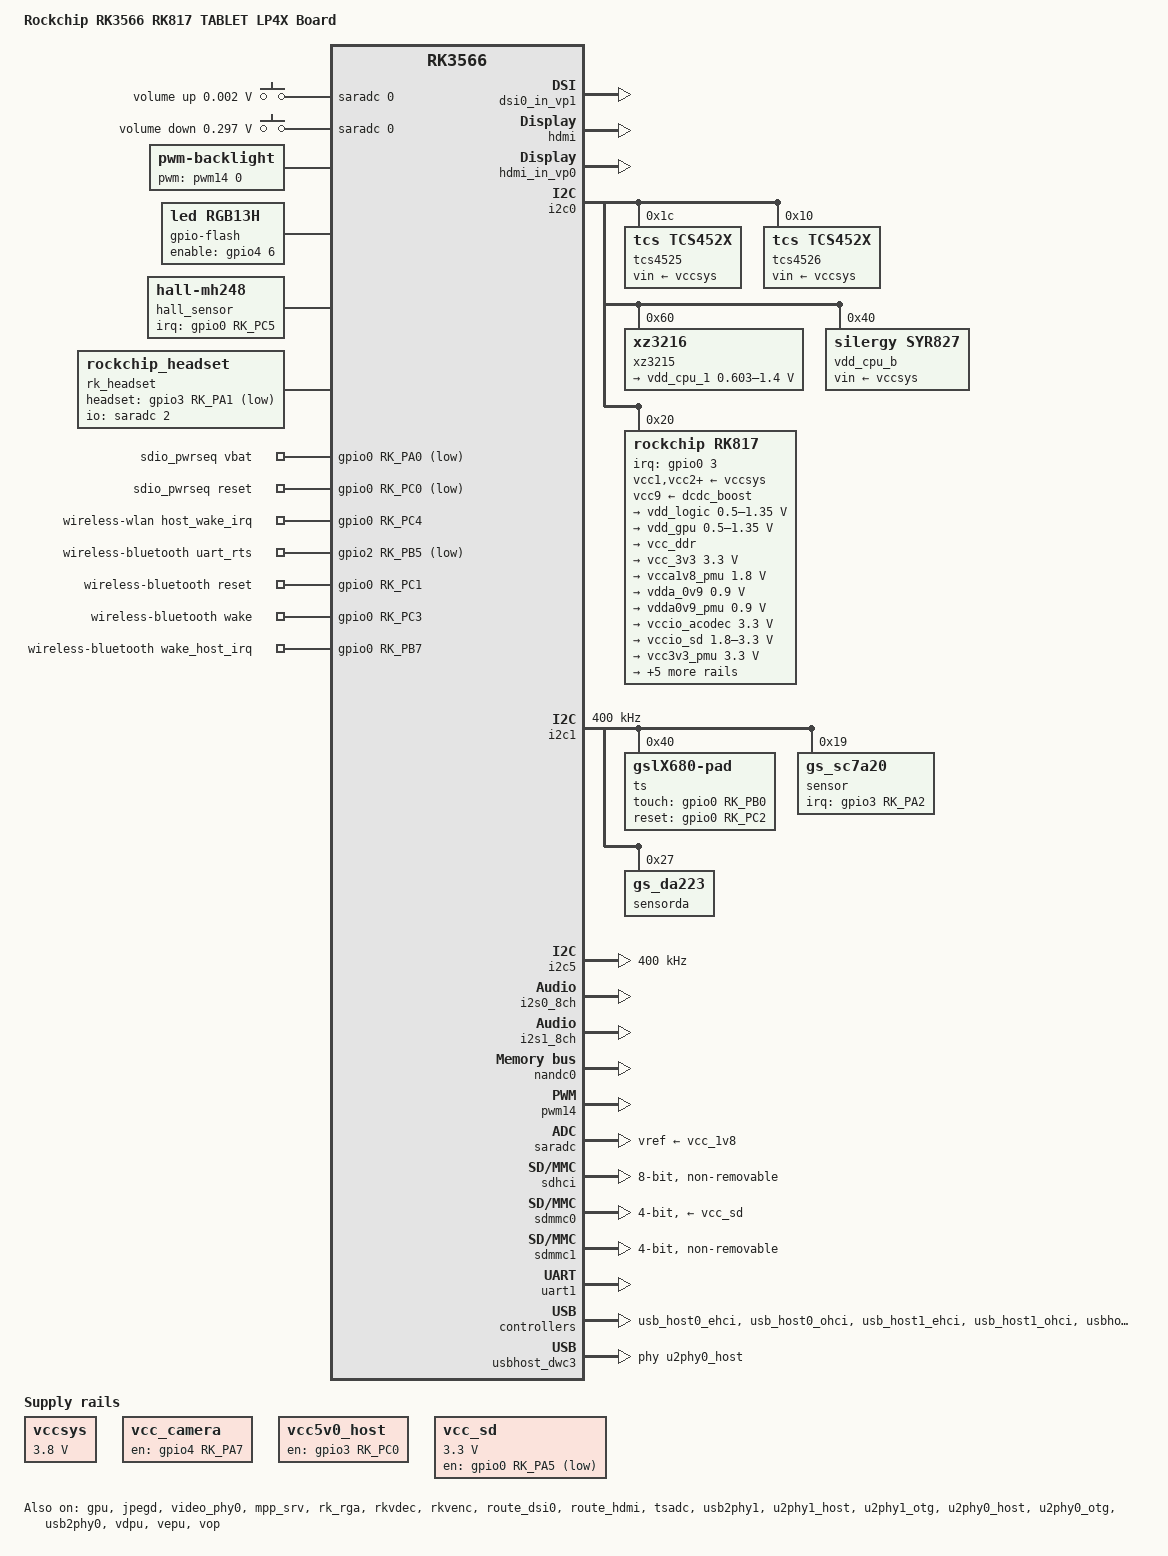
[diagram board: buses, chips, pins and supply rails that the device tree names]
// SPDX-License-Identifier: (GPL-2.0+ OR MIT)
/*
 * Copyright (c) 2020 Rockchip Electronics Co., Ltd.
 *
 */

/dts-v1/;

#include <dt-bindings/gpio/gpio.h>
#include <dt-bindings/pinctrl/rockchip.h>
#include <dt-bindings/input/rk-input.h>
#include <dt-bindings/sensor-dev.h>
#include <dt-bindings/display/drm_mipi_dsi.h>
#include "rk3566.dtsi"
#include "rk3568-android.dtsi"

//#include "lcd/lcd_mipi_r960_10inch_800x1280_ZJGD_B_I_40_003_001.dtsi"
//#include "lcd/lcd_mipi_r863_10inch_800x1280-ER88577_BOE-B6-176pin_20210204.dtsi"
//#include "lcd/lcd_mipi_ILI9881C_BOE_10_8001280_B4_TV101WXU-N90_Code_20190820.dtsi" //shuziyin
//#include "lcd/lcd_mipi_yc_8_800x1280_9365_zj_20210406.dtsi"
#include "lcd/lcd_mipi_xl_SQ-HSD9881_800x1280.dtsi"
//#include "lcd/lcd_mipi_r862_8inch_800x1280-ER88577+AUO8.0_B080EAN05.dtsi"
//#include "lcd/lcd_mipi_bendun_ILI9881C-04_HSD_HSD101HWW7_P1017_800x1280_4H_T01.dtsi" //bendun
//#include "camera_gc02m2_mipi_ov5648_mipi.dtsi"
//#include "camera_gc2145_dvp_ov8858_mipi.dtsi"
#include "camera/camera_mipi_mipi_gc02m2_sp250a_gc5025_5648_5035_hi556_hi846_gc8034-ov8858.dtsi"
/ {
	model = "Rockchip RK3566 RK817 TABLET LP4X Board";
	compatible = "rockchip,rk3566-rk817-tablet", "rockchip,rk3566";

	adc_keys: adc-keys {
		compatible = "adc-keys";
		io-channels = <&saradc 0>;
		io-channel-names = "buttons";
		keyup-threshold-microvolt = <1800000>;
		poll-interval = <100>;

		vol-up-key {
			label = "volume up";
			linux,code = <KEY_VOLUMEUP>;
			press-threshold-microvolt = <1750>;
		};

		vol-down-key {
			label = "volume down";
			linux,code = <KEY_VOLUMEDOWN>;
			press-threshold-microvolt = <297500>;
		};
	};

	backlight: backlight {
		compatible = "pwm-backlight";
		pwms = <&pwm14 0 25000 0>;
		brightness-levels = <
			  0  20  20  21  21  22  22  23
			 23  24  24  25  25  26  26  27
			 27  28  28  29  29  30  30  31
			 31  32  32  33  33  34  34  35
			 35  36  36  37  37  38  38  39
			 40  41  42  43  44  45  46  47
			 48  49  50  51  52  53  54  55
			 56  57  58  59  60  61  62  63
			 64  65  66  67  68  69  70  71
			 72  73  74  75  76  77  78  79
			 80  81  82  83  84  85  86  87
			 88  89  90  91  92  93  94  95
			 96  97  98  99 100 101 102 103
			104 105 106 107 108 109 110 111
			112 113 114 115 116 117 118 119
			120 121 122 123 124 125 126 127
			128 129 130 131 132 133 134 135
			136 137 138 139 140 141 142 143
			144 145 146 147 148 149 150 151
			152 153 154 155 156 157 158 159
			160 161 162 163 164 165 166 167
			168 169 170 171 172 173 174 175
			176 177 178 179 180 181 182 183
			184 185 186 187 188 189 190 191
			192 193 194 195 196 197 198 199
			200 201 202 203 204 205 206 207
			208 209 210 211 212 213 214 215
			216 217 218 219 220 221 222 223
			224 225 226 227 228 229 230 231
			232 233 234 235 236 237 238 239
			240 241 242 243 244 245 246 247
			248 249 250 251 252 253 254 255
		>;
		default-brightness-level = <96>;
		//enable-gpios = <&gpio3 RK_PA5 GPIO_ACTIVE_HIGH>;
	};

	charge-animation {
		compatible = "rockchip,uboot-charge";
		rockchip,uboot-charge-on = <1>;
		rockchip,android-charge-on = <0>;
		rockchip,uboot-low-power-voltage = <3350>;
		rockchip,screen-on-voltage = <3400>;
		status = "okay";
	};

	flash_rgb13h: flash-rgb13h {
		status = "okay";
		compatible = "led,rgb13h";
		label = "gpio-flash";
		pinctrl-names = "default";
		pinctrl-0 = <&flash_led_gpios>;
		led-max-microamp = <20000>;
		flash-max-microamp = <20000>;
		flash-max-timeout-us = <1000000>;
		enable-gpio = <&gpio4 6 GPIO_ACTIVE_HIGH>;
		rockchip,camera-module-index = <0>;
		rockchip,camera-module-facing = "back";
	};

	hdmi_sound: hdmi-sound {
		compatible = "simple-audio-card";
		simple-audio-card,format = "i2s";
		simple-audio-card,mclk-fs = <128>;
		simple-audio-card,name = "rockchip,hdmi";
		status = "okay";

		simple-audio-card,cpu {
				sound-dai = <&i2s0_8ch>;
		};
		simple-audio-card,codec {
				sound-dai = <&hdmi>;
		};
	};

	vccsys: vccsys {
		compatible = "regulator-fixed";
		regulator-name = "vcc3v8_sys";
		regulator-always-on;
		regulator-boot-on;
		regulator-min-microvolt = <3800000>;
		regulator-max-microvolt = <3800000>;
	};

	vcc_camera: vcc-camera-regulator {
		compatible = "regulator-fixed";
		gpio = <&gpio4 RK_PA7 GPIO_ACTIVE_HIGH>;
		pinctrl-names = "default";
		pinctrl-0 = <&camera_af_en>;
		regulator-name = "vcc_camera";
		enable-active-high;
		regulator-always-on;
		regulator-boot-on;
	};


      vcc5v0_host: vcc5v0-host-regulator {
              compatible = "regulator-fixed";
      	      gpio = <&gpio3 RK_PC0 GPIO_ACTIVE_HIGH>;
              pinctrl-names = "default";
              pinctrl-0 = <&host_vbus_drv>;
              regulator-name = "vcc5v0_host";
              enable-active-high;
              regulator-always-on;
              regulator-boot-on;
       };

       hall_sensor: hall-mh248 {
                compatible = "hall-mh248";
                irq-gpio = <&gpio0 RK_PC5 IRQ_TYPE_EDGE_BOTH>;
                hall-active = <1>;
                status = "okay";
        };
	
	rk817-sound {
		compatible = "simple-audio-card";
		simple-audio-card,format = "i2s";
		simple-audio-card,name = "rockchip,rk817-codec";
		simple-audio-card,mclk-fs = <256>;
		simple-audio-card,cpu {
			sound-dai = <&i2s1_8ch>;
		};
		simple-audio-card,codec {
			sound-dai = <&rk817_codec>;
		};
	};

	rk_headset: rk-headset {
		compatible = "rockchip_headset";
		headset_gpio = <&gpio3 RK_PA1 GPIO_ACTIVE_LOW>;
		pinctrl-names = "default";
		pinctrl-0 = <&hp_det>;
		io-channels = <&saradc 2>;
	};

	sdio_pwrseq: sdio-pwrseq {
		compatible = "mmc-pwrseq-simple";
		clocks = <&rk817 1>;
		clock-names = "ext_clock";
		pinctrl-names = "default";
		pinctrl-0 = <&wifi_enable_h &wifi_vbat>;

		/*
		 * On the module itself this is one of these (depending
		 * on the actual card populated):
		 * - SDIO_RESET_L_WL_REG_ON
		 * - PDN (power down when low)
		 */
		vbat-gpios = <&gpio0 RK_PA0 GPIO_ACTIVE_LOW>;
		reset-gpios = <&gpio0 RK_PC0 GPIO_ACTIVE_LOW>;
	};

	vcc_sd: vcc-sd {
		compatible = "regulator-gpio";
		enable-active-low;
		enable-gpio = <&gpio0 RK_PA5 GPIO_ACTIVE_LOW>;
		regulator-min-microvolt = <3300000>;
		regulator-max-microvolt = <3300000>;
		pinctrl-names = "default";
		pinctrl-0 = <&vcc_sd_h>;
		regulator-name = "vcc_sd";
		states = <3300000 0x0
			3300000 0x1>;
	};

	wireless-wlan {
                compatible = "wlan-platdata";
                rockchip,grf = <&grf>;
                wifi_chip_type = "rtl8723cs";
                pinctrl-names = "default";
                pinctrl-0 = <&wifi_host_wake_irq>;
                WIFI,host_wake_irq = <&gpio0 RK_PC4 GPIO_ACTIVE_HIGH>;
                //WIFI,vbat_gpio = <&gpio0 RK_PA0 GPIO_ACTIVE_LOW>;
                status = "okay";
        };

        wireless-bluetooth {
                compatible = "bluetooth-platdata";
                clocks = <&rk817 1>;
                clock-names = "ext_clock";
                //wifi-bt-power-toggle;
                uart_rts_gpios = <&gpio2 RK_PB5 GPIO_ACTIVE_LOW>;
                pinctrl-names = "default", "rts_gpio";
                pinctrl-0 = <&uart1m0_rtsn>;
                pinctrl-1 = <&uart1_gpios &bt_reset_gpio &bt_wake_gpio &bt_irq_gpio>;
                BT,reset_gpio    = <&gpio0 RK_PC1 GPIO_ACTIVE_HIGH>;
                BT,wake_gpio     = <&gpio0 RK_PC3 GPIO_ACTIVE_HIGH>;
                BT,wake_host_irq = <&gpio0 RK_PB7 GPIO_ACTIVE_HIGH>;
                status = "okay";
        };
};


&cpu0 {
	//cpu-supply = <&vdd_cpu>;
	reg-name = "vdd_cpu";
};

&dfi {
	status = "disabled";
};

&dmc {
	center-supply = <&vdd_logic>;
	status = "disabled";
};

&dsi0_in_vp0 {
	status = "disabled";
};

&dsi0_in_vp1 {
	status = "okay";
};

&gpu {
	mali-supply = <&vdd_gpu>;
	status = "okay";
};

&hdmi {
	status = "okay";
};

&hdmi_in_vp0 {
	status = "okay";
};

&hdmi_in_vp1 {
	status = "disabled";
};

&hdmi_sound {
        status = "okay";
};

&i2c0 {
	status = "okay";

	tcs4525: tcs4525@1c {
		compatible = "tcs,tcs452x";
		reg = <0x1c>;
		vin-supply = <&vccsys>;
		regulator-compatible = "fan53555-reg";
		regulator-name = "vdd_cpu";
		regulator-min-microvolt = <712500>;
		regulator-max-microvolt = <1390000>;
		regulator-ramp-delay = <2300>;
		fcs,suspend-voltage-selector = <1>;
		regulator-boot-on;
		regulator-always-on;
		regulator-state-mem {
			regulator-off-in-suspend;
		};
	};

	tcs4526: tcs4526@10 {
		compatible = "tcs,tcs452x";
		reg = <0x10>;
		vin-supply = <&vccsys>;
		regulator-compatible = "fan53555-reg";
		regulator-name = "vdd_cpu";
		regulator-min-microvolt = <712500>;
		regulator-max-microvolt = <1390000>;
		regulator-ramp-delay = <2300>;
		fcs,suspend-voltage-selector = <1>;
		regulator-boot-on;
		regulator-always-on;
		regulator-state-mem {
			regulator-off-in-suspend;
		};
	};

	xz3215: xz3215@60 {
		compatible = "xz3216";
		reg = <0x60>;
		regulators {
			#address-cells = <1>;
			#size-cells = <0>;
			vdd_cpu_1: regulator@0 {
				reg = <0>;
				vin-supply = <&vccsys>;
				regulator-compatible = "xz_dcdc1";
				regulator-name = "vdd_cpu";
				regulator-min-microvolt = <603000>;
				regulator-max-microvolt = <1400000>;
				regulator-ramp-delay = <1000>;
				regulator-always-on;
				regulator-boot-on;
				fcs,suspend-voltage-selector = <1>;
				//regulator-initial-mode = <0x1>;
				regulator-initial-state = <3>;
				regulator-state-mem {
					regulator-off-in-suspend;
				};
			};
		};
	};

	vdd_cpu_b: syr837@40 {
			compatible = "silergy,syr827";
			reg = <0x40>;
			vin-supply = <&vccsys>;
			regulator-compatible = "fan53555-reg";
			//pinctrl-0 = <&vsel1_gpio>;
			//vsel-gpios = <&gpio1 17 GPIO_ACTIVE_HIGH>;
			regulator-name = "vdd_cpu";
			regulator-min-microvolt = <712500>;
			regulator-max-microvolt = <1500000>;
			regulator-ramp-delay = <1000>;
			fcs,suspend-voltage-selector = <1>;
			regulator-always-on;
			regulator-initial-state = <3>;
			regulator-state-mem {
					regulator-off-in-suspend;
			};
	};

	rk817: pmic@20 {
		compatible = "rockchip,rk817";
		reg = <0x20>;
		interrupt-parent = <&gpio0>;
		interrupts = <3 IRQ_TYPE_LEVEL_LOW>;

		pinctrl-names = "default", "pmic-sleep",
				"pmic-power-off", "pmic-reset";
		pinctrl-0 = <&pmic_int>;
		pinctrl-1 = <&soc_slppin_slp>, <&rk817_slppin_slp>;
		pinctrl-2 = <&soc_slppin_gpio>, <&rk817_slppin_pwrdn>;
		pinctrl-3 = <&soc_slppin_gpio>, <&rk817_slppin_rst>;
		rockchip,system-power-controller;
		wakeup-source;
		#clock-cells = <1>;
		clock-output-names = "rk808-clkout1", "rk808-clkout2";
		//fb-inner-reg-idxs = <2>;
		/* 1: rst regs (default in codes), 0: rst the pmic */
		pmic-reset-func = <0>;
		/* not save the PMIC_POWER_EN register in uboot */
		not-save-power-en = <1>;

		vcc1-supply = <&vccsys>;
		vcc2-supply = <&vccsys>;
		vcc3-supply = <&vccsys>;
		vcc4-supply = <&vccsys>;
		vcc5-supply = <&vccsys>;
		vcc6-supply = <&vccsys>;
		vcc7-supply = <&vccsys>;
		vcc8-supply = <&vccsys>;
		vcc9-supply = <&dcdc_boost>;

		pwrkey {
			status = "okay";
		};

		pinctrl_rk8xx: pinctrl_rk8xx {
			gpio-controller;
			#gpio-cells = <2>;

			rk817_slppin_null: rk817_slppin_null {
				pins = "gpio_slp";
				function = "pin_fun0";
			};

			rk817_slppin_slp: rk817_slppin_slp {
				pins = "gpio_slp";
				function = "pin_fun1";
			};

			rk817_slppin_pwrdn: rk817_slppin_pwrdn {
				pins = "gpio_slp";
				function = "pin_fun2";
			};

			rk817_slppin_rst: rk817_slppin_rst {
				pins = "gpio_slp";
				function = "pin_fun3";
			};
		};

		regulators {
			vdd_logic: DCDC_REG1 {
				regulator-always-on;
				regulator-boot-on;
				regulator-min-microvolt = <500000>;
				regulator-max-microvolt = <1350000>;
				regulator-init-microvolt = <900000>;
				regulator-ramp-delay = <6001>;
				regulator-initial-mode = <0x2>;
				regulator-name = "vdd_logic";
				regulator-state-mem {
					regulator-off-in-suspend;
					regulator-suspend-microvolt = <900000>;
				};
			};

			vdd_gpu: DCDC_REG2 {
				regulator-always-on;
				regulator-boot-on;
				regulator-min-microvolt = <500000>;
				regulator-max-microvolt = <1350000>;
				regulator-init-microvolt = <900000>;
				regulator-ramp-delay = <6001>;
				regulator-initial-mode = <0x2>;
				regulator-name = "vdd_gpu";
					regulator-state-mem {
					regulator-off-in-suspend;
				};
			};

			vcc_ddr: DCDC_REG3 {
				regulator-always-on;
				regulator-boot-on;
				regulator-initial-mode = <0x2>;
				regulator-name = "vcc_ddr";
				regulator-state-mem {
					regulator-on-in-suspend;
				};
			};

			vcc_3v3: DCDC_REG4 {
				regulator-always-on;
				regulator-boot-on;
				regulator-min-microvolt = <3300000>;
				regulator-max-microvolt = <3300000>;
				regulator-initial-mode = <0x2>;
				regulator-name = "vcc_3v3";
				regulator-state-mem {
					regulator-on-in-suspend;
					regulator-suspend-microvolt = <3300000>;
				};
			};

			vcca1v8_pmu: LDO_REG1 {
				regulator-always-on;
				regulator-boot-on;
				regulator-min-microvolt = <1800000>;
				regulator-max-microvolt = <1800000>;
				regulator-name = "vcca1v8_pmu";
				regulator-state-mem {
					regulator-on-in-suspend;
					regulator-suspend-microvolt = <1800000>;
				};
			};

			vdda_0v9: LDO_REG2 {
				regulator-always-on;
				regulator-boot-on;
				regulator-min-microvolt = <900000>;
				regulator-max-microvolt = <900000>;
				regulator-name = "vdda_0v9";
				regulator-state-mem {
					regulator-off-in-suspend;
				};
			};

			vdda0v9_pmu: LDO_REG3 {
				regulator-always-on;
				regulator-boot-on;
				regulator-min-microvolt = <900000>;
				regulator-max-microvolt = <900000>;
				regulator-name = "vdda0v9_pmu";
				regulator-state-mem {
				regulator-on-in-suspend;
					regulator-suspend-microvolt = <900000>;
				};
			};

			vccio_acodec: LDO_REG4 {
				regulator-always-on;
				regulator-boot-on;
				regulator-min-microvolt = <3300000>;
				regulator-max-microvolt = <3300000>;
				regulator-name = "vccio_acodec";
				regulator-state-mem {
					regulator-off-in-suspend;
				};
			};

			vccio_sd: LDO_REG5 {
				regulator-always-on;
				regulator-boot-on;
				regulator-min-microvolt = <1800000>;
				regulator-max-microvolt = <3300000>;
				regulator-name = "vccio_sd";
				regulator-state-mem {
                    regulator-off-in-suspend;
				};
			};

			vcc3v3_pmu: LDO_REG6 {
				regulator-always-on;
				regulator-boot-on;
				regulator-min-microvolt = <3300000>;
				regulator-max-microvolt = <3300000>;
				regulator-name = "vcc3v3_pmu";
				regulator-state-mem {
					regulator-on-in-suspend;
					regulator-suspend-microvolt = <3000000>;
				};
			};

			vcc_1v8: LDO_REG7 {
				regulator-always-on;
				regulator-boot-on;
				regulator-min-microvolt = <1800000>;
				regulator-max-microvolt = <1800000>;
				regulator-name = "vcc_1v8";
					regulator-state-mem {
					regulator-off-in-suspend;
				};
			};

			vcc1v8_dvp: LDO_REG8 {
				regulator-always-on;
                                regulator-boot-on;
				regulator-min-microvolt = <1800000>;
				regulator-max-microvolt = <1800000>;
				regulator-name = "vcc1v8_dvp";
					regulator-state-mem {
					regulator-off-in-suspend;
				};
			};

			vcc2v8_dvp: LDO_REG9 {
				regulator-always-on;
				regulator-boot-on;
				regulator-min-microvolt = <2800000>;
				regulator-max-microvolt = <2800000>;
				regulator-name = "vcc2v8_dvp";
					regulator-state-mem {
					regulator-off-in-suspend;
				};
			};

			dcdc_boost: BOOST {
				regulator-always-on;
				regulator-boot-on;
				regulator-min-microvolt = <5200000>;
				regulator-max-microvolt = <5400000>;
				regulator-name = "boost";
				regulator-state-mem {
					regulator-off-in-suspend;
				};				
			};

			otg_switch: OTG_SWITCH {
				regulator-name = "otg_switch";
				regulator-state-mem {
					regulator-off-in-suspend;
				};				
			};
		};

		battery {
			compatible = "rk817,battery";
			ocv_table = <3400 3526 3596 3687 3734 3756 3767 3772 3775 3779 3790 3811 3846 3873 3900 3930 3963 3995 4045 4090 4160>;
			design_capacity = <5067>;
			design_qmax = <5573>;
			bat_res = <110>;
			sleep_enter_current = <150>;
			sleep_exit_current = <180>;
			sleep_filter_current = <100>;
			power_off_thresd = <3400>;
			zero_algorithm_vol = <3850>;
			max_soc_offset = <60>;
			monitor_sec = <5>;
			sample_res = <10>;
			virtual_power = <0>;
		};

		charger {
			compatible = "rk817,charger";
			min_input_voltage = <4500>;
			max_input_current = <1500>;
			max_chrg_current = <2000>;
			max_chrg_voltage = <4200>;
			chrg_term_mode = <0>;
			chrg_finish_cur = <300>;
			virtual_power = <0>;
			dc_det_adc = <0>;
			extcon = <&usb2phy0>;
		};

		rk817_codec: codec {
			#sound-dai-cells = <0>;
			compatible = "rockchip,rk817-codec";
			clocks = <&cru I2S1_MCLKOUT>;
			clock-names = "mclk";
			assigned-clocks = <&cru I2S1_MCLKOUT>, <&cru I2S1_MCLK_TX_IOE>;
			assigned-clock-rates = <12288000>;
			assigned-clock-parents = <&cru I2S1_MCLKOUT_TX>, <&cru I2S1_MCLKOUT_TX>;
			pinctrl-names = "default";
			pinctrl-0 = <&i2s1m0_mclk>;
			hp-volume = <20>;
			spk-volume = <12>;
			use-ext-amplifier;
			spk-ctl-gpios = <&gpio3 RK_PA2 GPIO_ACTIVE_HIGH>;
			status = "okay";
		};
	};
};

&i2c1 {
	status = "okay";
	pinctrl-names = "default";
	pinctrl-0 = <&i2c1_xfer>;
	clock-frequency = <400000>;
	i2c-scl-rising-time-ns = <138>;
	i2c-scl-falling-time-ns = <4>;
	

	/*ts@40 {
		status = "okay";
		compatible = "GSL,GSL3673_800X1280";
		reg = <0x40>;
		irq_gpio_number = <&gpio0 RK_PB0 IRQ_TYPE_LEVEL_LOW>;
		rst_gpio_number = <&gpio0 RK_PC2 IRQ_TYPE_LEVEL_HIGH>;
	};*/
	ts@40 {
		compatible = "gslX680-pad";
		reg = <0x40>;
		touch-gpio = <&gpio0 RK_PB0 IRQ_TYPE_LEVEL_LOW>;
		reset-gpio = <&gpio0 RK_PC2 IRQ_TYPE_LEVEL_HIGH>;
		pinctrl-names = "default";
		pinctrl-0 = <&tp_gpio>;
		screen_max_x = <1200>;
		screen_max_y = <1920>;
		revert_x = <0>;
		revert_y = <1>;
		revert_xy = <0>;
		chip_id = <3>;
		status = "okay";
	};
	gt9xx@5d {
			status = "disabled";
			compatible = "goodix,gt9xx";
			reg = <0x5d>;
			pinctrl-names = "default";
			pinctrl-0 = <&tp_gpio>;
			touch-gpio = <&gpio3 RK_PB0 IRQ_TYPE_LEVEL_LOW>;
			reset-gpio = <&gpio3 RK_PB1 IRQ_TYPE_LEVEL_HIGH>;
			max-x = <1280>;
			max-y = <800>;
			tp-size = <89>;
			//tp-supply = <&vcc_3v3>;
	};
	
#if 0	
	ts@40 {
		compatible = "GSL,GSL3673_800X1280_INCAR";
		reg = <0x40>;
		irq_gpio_number = <&gpio3 RK_PB0 IRQ_TYPE_LEVEL_LOW>;
		rst_gpio_number = <&gpio3 RK_PB1 IRQ_TYPE_LEVEL_HIGH>;
		pinctrl-names = "default";
		pinctrl-0 = <&tp_gpio>;
		screen_max_x = <600>;
		screen_max_y = <1024>;
		revert_x = <0>;
		revert_y = <0>;
		revert_xy = <1>;
		chip_id = <1>;
		status = "disabled";
	};
#endif	


	sensor@19 {
                compatible = "gs_sc7a20";
                reg = <0x19>;
                type = <SENSOR_TYPE_ACCEL>;
                irq_enable = <0>;
                pinctrl-names = "default";
                pinctrl-0 = <&sensor_gpio>;
                irq-gpio = <&gpio3 RK_PA2 IRQ_TYPE_LEVEL_LOW>;
                poll_delay_ms = <10>;
				layout = <7>; //<7>;//<5>; 
				reprobe_en = <0>;
				swap_xy = <1>;
				revert_x = <1>;
				revert_y = <0>;
				revert_z = <0>;
                status = "okay";
        };

	sensorda@27{
	       status = "okay";
               compatible = "gs_da223";
               reg = <0x27>;
               type = <SENSOR_TYPE_ACCEL>;
               //irq-gpio = <&gpio2 GPIO_B2 IRQ_TYPE_EDGE_FALLING>; 
               irq_enable = <0>;
               poll_delay_ms = <30>;
               //layout = <6>; 
               layout = <6>;
               swap_xy = <1>;
               revert_x = <1>;
               revert_y = <0>;
               revert_z = <0>;
		power-off-in-suspend = <1>;
       };
};

&i2c5 {
	status = "okay";
	clock-frequency = <400000>;
	i2c-scl-rising-time-ns = <144>;
	i2c-scl-falling-time-ns = <4>;

/*	sensor@19 {
                compatible = "gs_sc7a20";
                reg = <0x19>;
                type = <SENSOR_TYPE_ACCEL>;
                irq_enable = <0>;
                pinctrl-names = "default";
                pinctrl-0 = <&sensor_gpio>;
                irq-gpio = <&gpio3 RK_PA2 IRQ_TYPE_LEVEL_LOW>;
                poll_delay_ms = <10>;
				layout = <7>; //<7>;//<5>; 
				reprobe_en = <0>;
				swap_xy = <0>;
				revert_x = <0>;
				revert_y = <0>;
				revert_z = <0>;
                status = "okay";
        };

	sensorda@27{
	       status = "okay";
               compatible = "gs_da223";
               reg = <0x27>;
               type = <SENSOR_TYPE_ACCEL>;
               //irq-gpio = <&gpio2 GPIO_B2 IRQ_TYPE_EDGE_FALLING>; 
               irq_enable = <0>;
               poll_delay_ms = <30>;
               //layout = <6>; 
               layout = <6>;
               swap_xy = <1>;
               revert_x = <0>;
               revert_y = <1>;
               revert_z = <0>;
		power-off-in-suspend = <1>;
       };*/
};

&i2s0_8ch {
	status = "okay";
};

&i2s1_8ch {
	status = "okay";
	rockchip,clk-trcm = <1>;
	pinctrl-names = "default";
	pinctrl-0 = <&i2s1m0_sclktx
		     &i2s1m0_lrcktx
		     &i2s1m0_sdi0
		     &i2s1m0_sdo0>;
};

&jpegd {
	status = "okay";
};

&jpegd_mmu {
	status = "okay";
};

&video_phy0 {
	status = "okay";
};

&mpp_srv {
	status = "okay";
};

&nandc0 {
	status = "okay";
};

&pinctrl {
	cam {
		camera_rst: camera-rst {
			rockchip,pins =
				/* back camra reset */
				<4 RK_PB1 RK_FUNC_GPIO &pcfg_pull_none>;
		};
		camera_af_en: camera-af {
			rockchip,pins =
				/* back camra reset */
				<4 RK_PA7 RK_FUNC_GPIO &pcfg_pull_none>;
		};
		flash_led_gpios: flash-led {
			rockchip,pins =
				/* flash led enable */
				<4 RK_PA6 RK_FUNC_GPIO &pcfg_pull_none>;
		};
	};

	tp {
		tp_gpio: tp-gpio {
			rockchip,pins = <0 RK_PB0 RK_FUNC_GPIO &pcfg_pull_up>,
					<0 RK_PC2 RK_FUNC_GPIO &pcfg_pull_none>;
		};
	};

	headphone {
		hp_det: hp-det {
			rockchip,pins = <3 RK_PA1 RK_FUNC_GPIO &pcfg_pull_down>;
		};
	};

	lcd {
		lcd_rst_gpio: lcd-rst-gpio {
			rockchip,pins = <3 RK_PC3 RK_FUNC_GPIO &pcfg_pull_none>;
		};

		lcd_enable_gpio: lcd-enable-gpio {
			rockchip,pins = <3 RK_PB1 RK_FUNC_GPIO &pcfg_pull_none>;
		};

	};

	pmic {
		pmic_int: pmic_int {
			rockchip,pins =
				<0 RK_PA3 RK_FUNC_GPIO &pcfg_pull_up>;
		};

		soc_slppin_gpio: soc_slppin_gpio {
			rockchip,pins =
				<0 RK_PA2 RK_FUNC_GPIO &pcfg_output_low>;
		};

		soc_slppin_slp: soc_slppin_slp {
			rockchip,pins =
				<0 RK_PA2 RK_FUNC_1 &pcfg_pull_none>;
		};

		soc_slppin_rst: soc_slppin_rst {
			rockchip,pins =
				<0 RK_PA2 RK_FUNC_2 &pcfg_pull_none>;
		};
	};

	sensor {
		sensor_gpio: sensor-gpio {
			rockchip,pins = <3 RK_PA2 RK_FUNC_GPIO &pcfg_pull_none>;
		};
	};

	sdio-pwrseq {
		wifi_enable_h: wifi-enable-h {
			rockchip,pins = <0 RK_PC0 RK_FUNC_GPIO &pcfg_pull_none>;
		};
		
		wifi_vbat: wifi-vbat {
			rockchip,pins = <0 RK_PA0 RK_FUNC_GPIO &pcfg_pull_none>;
		};		
	};

	usb2 {
		host_vbus_drv: host-vbus-drv { 
				rockchip,pins =
						<3 RK_PC0 RK_FUNC_GPIO &pcfg_pull_none>;
		};
	};
		
	vcc_sd {
		vcc_sd_h: vcc-sd-h {
			rockchip,pins = <0 RK_PA5 RK_FUNC_GPIO &pcfg_pull_none>;
		};
	};

	wireless-wlan {
		wifi_host_wake_irq: wifi-host-wake-irq {
			rockchip,pins = <0 RK_PC4 RK_FUNC_GPIO &pcfg_pull_down>;
		};
	};

	wireless-bluetooth {
		uart1_gpios: uart1-gpios {
			rockchip,pins = <2 RK_PB5 RK_FUNC_GPIO &pcfg_pull_none>;
		};
        	bt_reset_gpio: bt-reset-gpio {
                	rockchip,pins = <0 RK_PC1 RK_FUNC_GPIO &pcfg_pull_down>;
        	};

        	bt_wake_gpio: bt-wake-gpio {
                	rockchip,pins = <0 RK_PC3 RK_FUNC_GPIO &pcfg_pull_down>;
        	};      

        	bt_irq_gpio: bt-irq-gpio {
                	rockchip,pins = <0 RK_PB7 RK_FUNC_GPIO &pcfg_pull_down>;
		}; 		
	};
};

&pmu_io_domains {
	status = "okay";
	pmuio1-supply = <&vcc3v3_pmu>;
	pmuio2-supply = <&vcc3v3_pmu>;
	vccio1-supply = <&vccio_acodec>;
	vccio3-supply = <&vccio_sd>;
	vccio4-supply = <&vcc_3v3>;
	vccio5-supply = <&vcc_3v3>;
	vccio6-supply = <&vcc1v8_dvp>;
	vccio7-supply = <&vcc_3v3>;
};

&pwm14 {
	status = "okay";
};

&rk_rga {
	status = "okay";
};

&rkvdec {
	status = "okay";
};

&rkvdec_mmu {
	status = "okay";
};

&rkvenc {
	status = "okay";
};

&rkvenc_mmu {
	status = "okay";
};


&route_dsi0 {
        status = "okay";
        connect = <&vp1_out_dsi0>;
};

&route_dsi1 {
	status = "disabled";
};

&route_hdmi {
	status = "okay";
};

&saradc {
	status = "okay";
	vref-supply = <&vcc_1v8>;
};

&sdhci {
	bus-width = <8>;
	supports-emmc;
	non-removable;
	rockchip,txclk-tapnum = <0x8>;
	max-frequency = <200000000>;
	status = "okay";
};

&sdmmc0 {
	max-frequency = <150000000>;
	supports-sd;
	bus-width = <4>;
	cap-mmc-highspeed;
	cap-sd-highspeed;
	disable-wp;
	sd-uhs-sdr104;
	vmmc-supply = <&vcc_sd>;
	vqmmc-supply = <&vccio_sd>;
	pinctrl-names = "default";
	pinctrl-0 = <&sdmmc0_bus4 &sdmmc0_clk &sdmmc0_cmd &sdmmc0_det>;
	status = "okay";
};

&sdmmc1 {
	max-frequency = <50000000>;
	supports-sdio;
	bus-width = <4>;
	disable-wp;
	cap-sd-highspeed;
	cap-sdio-irq;
	keep-power-in-suspend;
	mmc-pwrseq = <&sdio_pwrseq>;
	non-removable;
	pinctrl-names = "default";
	pinctrl-0 = <&sdmmc1_bus4 &sdmmc1_cmd &sdmmc1_clk>;
	//sd-uhs-sdr104;
	//rockchip,default-sample-phase = <90>;
	status = "okay";
};

&tsadc {
	status = "okay";
};

&uart1 {
	status = "okay";
	pinctrl-names = "default";
	pinctrl-0 = <&uart1m0_xfer &uart1m0_ctsn>;
};

&usb_host0_ehci {
        status = "okay";
};

&usb_host0_ohci {
        status = "okay";
};

&usb_host1_ehci {
        status = "okay";
};

&usb_host1_ohci {
        status = "okay";
};
&usb2phy1 {
        status = "okay";
};

&u2phy1_host {
       phy-supply = <&vcc5v0_host>;
       status = "okay";
};

&u2phy1_otg {
	phy-supply = <&vcc5v0_host>;
	status = "okay";
};



&u2phy0_host {
	phy-supply = <&vcc5v0_host>;
	status = "okay";
};

&usbhost_dwc3 {
	phys = <&u2phy0_host>;
	phy-names = "usb2-phy";
	maximum-speed = "high-speed";
	status = "okay";
};
&u2phy0_otg {
	
	status = "okay";
};

&usb2phy0 {
	 vbus-supply = <&vcc5v0_host>;
	status = "okay";
};

&usbhost30 {
       status = "okay";
};
&usbdrd_dwc3 {
//	dr_mode = "otg";
//	phys = <&u2phy0_otg>;
//	phy-names = "usb2-phy";
//	extcon = <&usb2phy0>;
//	maximum-speed = "high-speed";
	status = "okay";
};

&usbdrd30 {
	status = "okay";
};

&vdpu {
	status = "okay";
};

&vdpu_mmu {
	status = "okay";
};

&vepu {
	status = "okay";
};

&vepu_mmu {
	status = "okay";
};

&vop {
	status = "okay";
	assigned-clocks = <&cru DCLK_VOP0>, <&cru DCLK_VOP1>;
	assigned-clock-parents = <&pmucru PLL_HPLL>, <&cru PLL_VPLL>;
};

&vop_mmu {
	status = "okay";
};
